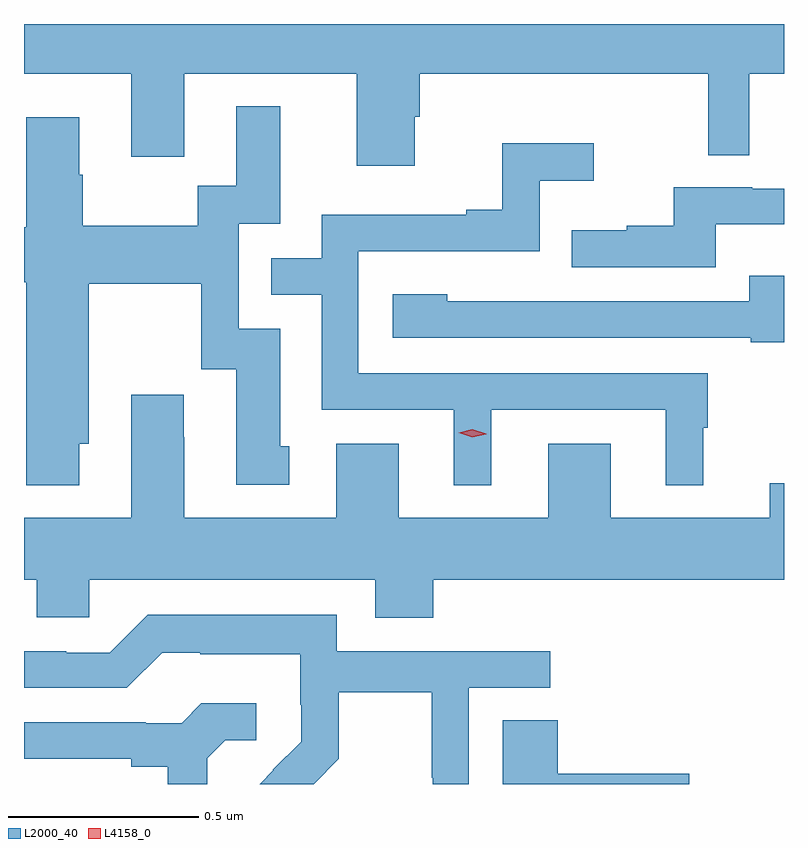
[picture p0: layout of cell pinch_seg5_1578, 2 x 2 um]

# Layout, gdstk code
import gdstk
lib = gdstk.Library(unit=1e-6, precision=1e-09)
def P(c, l, *ps):  # polygons
    for p in ps: c.add(gdstk.Polygon(p, *l))
L2000_40 = (2000, 40)
L4158_0 = (4158, 0)

pinch_seg5_1578 = lib.new_cell('pinch_seg5_1578')
P(pinch_seg5_1578, L2000_40, [(270.793,843.327),(270.806,843.327),(270.806,843.44),(271.566,843.44),(271.566,843.226),(271.674,843.226),(271.674,843.44),(271.765,843.44),(271.765,843.571),(269.765,843.571),(269.765,843.44),(270.047,843.44),(270.047,843.222),(270.187,843.222),(270.187,843.44),(270.641,843.44),(270.641,843.198),(270.793,843.198)],
  [(269.911,842.466),(269.935,842.466),(269.935,842.888),(270.231,842.888),(270.231,842.663),(270.323,842.663),(270.323,842.358),(270.463,842.358),(270.463,842.46),(270.439,842.46),(270.439,842.769),(270.33,842.769),(270.33,843.045),(270.439,843.045),(270.439,843.355),(270.323,843.355),(270.323,843.146),(270.222,843.146),(270.222,843.04),(269.919,843.04),(269.919,843.174),(269.911,843.174),(269.911,843.325),(269.771,843.325),(269.771,843.036),(269.765,843.036),(269.765,842.892),(269.771,842.892),(269.771,842.357),(269.911,842.357)],
  [(270.994,842.556),(271.454,842.556),(271.454,842.357),(271.552,842.357),(271.552,842.508),(271.564,842.508),(271.564,842.652),(270.645,842.652),(270.645,842.973),(271.122,842.973),(271.122,843.158),(271.264,843.158),(271.264,843.257),(271.024,843.257),(271.024,843.082),(270.929,843.082),(270.929,843.069),(270.549,843.069),(270.549,842.955),(270.415,842.955),(270.415,842.859),(270.549,842.859),(270.549,842.556),(270.896,842.556),(270.896,842.357),(270.994,842.357)],
  [(271.585,843.044),(271.765,843.044),(271.765,843.138),(271.682,843.138),(271.682,843.141),(271.475,843.141),(271.475,843.04),(271.351,843.04),(271.351,843.028),(271.207,843.028),(271.207,842.931),(271.585,842.931)],
  [(271.765,842.908),(271.673,842.908),(271.673,842.841),(271.115,842.841),(271.115,842.842),(270.879,842.842),(270.879,842.86),(270.735,842.86),(270.735,842.745),(271.677,842.745),(271.677,842.733),(271.765,842.733)],
  [(270.842,842.108),(271.765,842.108),(271.765,842.363),(271.727,842.363),(271.727,842.272),(271.309,842.272),(271.309,842.467),(271.145,842.467),(271.145,842.272),(270.751,842.272),(270.751,842.467),(270.587,842.467),(270.587,842.272),(270.187,842.272),(270.187,842.483),(270.185,842.483),(270.185,842.596),(270.047,842.596),(270.047,842.272),(269.765,842.272),(269.765,842.108),(269.799,842.108),(269.799,842.01),(269.937,842.01),(269.937,842.108),(270.689,842.108),(270.689,842.009),(270.842,842.009)],
  [(270.593,841.637),(270.593,841.812),(270.838,841.812),(270.838,841.588),(270.84,841.588),(270.84,841.571),(270.936,841.571),(270.936,841.824),(271.15,841.824),(271.15,841.92),(270.588,841.92),(270.588,842.017),(270.091,842.017),(269.991,841.917),(269.876,841.917),(269.876,841.92),(269.765,841.92),(269.765,841.824),(270.036,841.824),(270.129,841.917),(270.229,841.917),(270.229,841.913),(270.492,841.913),(270.492,841.779),(270.494,841.779),(270.494,841.682),(270.42,841.608),(270.421,841.607),(270.385,841.571),(270.527,841.571)],
  [(270.247,841.639),(270.294,841.686),(270.376,841.686),(270.376,841.783),(270.232,841.783),(270.18,841.731),(270.086,841.731),(270.086,841.734),(269.765,841.734),(269.765,841.638),(270.047,841.638),(270.047,841.616),(270.143,841.616),(270.143,841.571),(270.247,841.571)],
  [(271.516,841.598),(271.169,841.598),(271.169,841.739),(271.025,841.739),(271.025,841.571),(271.516,841.571)])
P(pinch_seg5_1578, L4158_0, [(270.945,842.484),(270.909,842.495),(270.909,842.495),(270.909,842.495),(270.945,842.504),(270.981,842.493),(270.981,842.492),(270.981,842.492)])

lib.write_gds('pinch_seg5_1578.gds')
